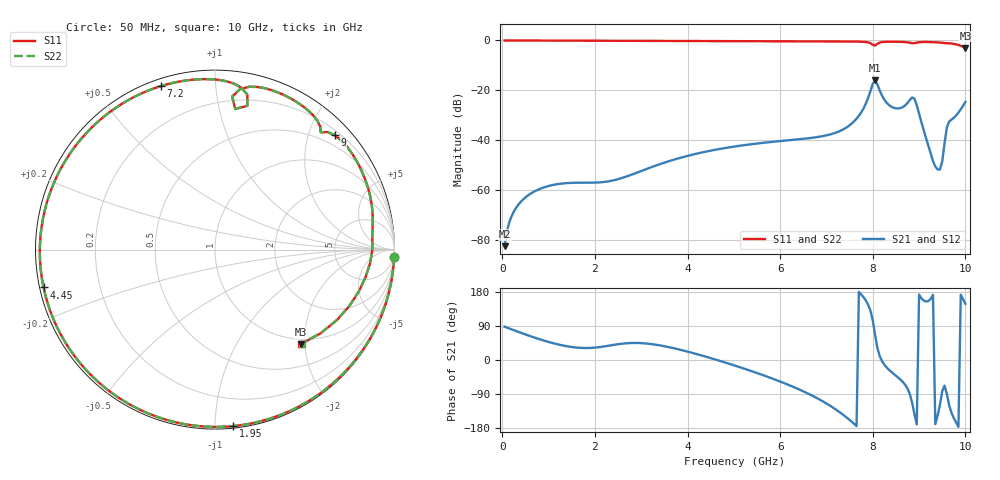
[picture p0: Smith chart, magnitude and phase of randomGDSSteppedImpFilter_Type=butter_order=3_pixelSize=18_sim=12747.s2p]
! freq	dB(S11)	phase(S11)	dB(S12)	phase(S12)
!  dB(S21)	phase(S21)	dB(S22)	phase(S22)
!S-par simulation data
#  GHz  S  DB  R 50
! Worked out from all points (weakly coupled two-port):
!   200 points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, 50 MHz to 10 GHz, reference 50 ohm
!   highest |S21| = -16.01 dB at 8.05 GHz (marker M1); lowest = -82.3 dB at 50 MHz (marker M2)
!   lowest |S11| = -3.0 dB at 10 GHz (marker M3), VSWR 5.92, Z = 44.9 - j95.7 ohm
!   |S11| at or under -10 dB: nowhere
!   |S22| runs from -3.0 to 0.0 dB; largest |S21 - S12| = 0
!   S11 on the Smith chart (normalised r, x): 50 MHz: 1, -49; 1.95 GHz: 0.01, -1.11; 4.45 GHz: 0.01, -0.11; 7.2 GHz: 0.03, +0.72; 9 GHz: 0.29, +2.47; 10 GHz: 0.90, -1.91
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0.05  -0.01 -2.3  -82.29 87.8  -82.29 87.8  -0.01 -2.3
0.25  -0.02 -11.5  -68.44 78.5  -68.44 78.5  -0.02 -11.5
0.55  -0.03 -25.2  -62.06 65.2  -62.06 65.2  -0.03 -25.2
1.75  -0.09 -76.4  -56.90 31.7  -56.90 31.7  -0.09 -76.4
1.95  -0.10 -84.2  -56.89 32.2  -56.89 32.2  -0.10 -84.2
3.4  -0.15 -135.2  -49.51 38.6  -49.51 38.6  -0.15 -135.2
4.45  -0.19 -167.6  -44.27 6.8  -44.27 6.8  -0.19 -167.6
5.05  -0.22 174.6  -42.33 -15.9  -42.33 -15.9  -0.22 174.6
6.7  -0.32 124.7  -38.92 -94.5  -38.92 -94.5  -0.32 124.8
7.2  -0.36 108.3  -36.90 -130.5  -36.90 -130.5  -0.36 108.4
7.7  -0.47 90.1  -30.14 179.5  -30.14 179.5  -0.46 90.2
8.05  -2.04 81.8  -16.01 66.0  -16.01 66.0  -2.02 81.8
8.35  -0.51 70.4  -25.83 -25.9  -25.83 -25.9  -0.51 70.4
8.6  -0.56 58.7  -27.04 -52.0  -27.04 -52.0  -0.56 58.8
8.85  -1.10 48.0  -22.81 -112.7  -22.81 -112.7  -1.11 48.1
9  -0.70 43.6  -29.31 172.8  -29.31 172.8  -0.70 43.8
9.3  -0.68 25.5  -48.21 172.1  -48.21 172.1  -0.68 25.7
9.45  -0.85 15.4  -51.65 -118.3  -51.65 -118.3  -0.84 15.6
9.5  -0.94 11.7  -48.40 -82.1  -48.40 -82.1  -0.93 12.0
9.6  -1.12 4.4  -34.74 -89.7  -34.74 -89.7  -1.11 4.7
9.8  -1.58 -16.4  -29.97 -165.2  -29.97 -165.2  -1.57 -16.0
10  -2.96 -47.8  -24.61 148.3  -24.61 148.3  -2.95 -47.3
